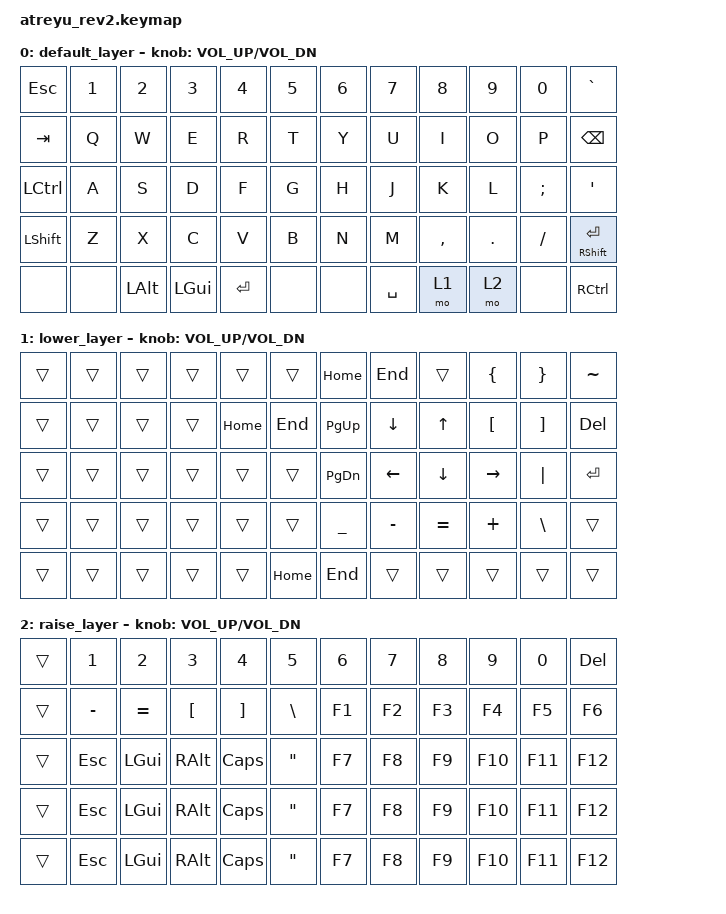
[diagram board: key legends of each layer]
/*
 * Copyright (c) 2020 The ZMK Contributors
 *
 * SPDX-License-Identifier: MIT
 */

#include <behaviors.dtsi>
#include <dt-bindings/zmk/keys.h>
#include <dt-bindings/zmk/bt.h>
#include <dt-bindings/zmk/rgb.h>

/ {
        keymap {
                compatible = "zmk,keymap";

                default_layer {
                        bindings = <
   &kp ESC   &kp N1  &kp N2   &kp N3   &kp N4  &kp N5    &kp N6 &kp N7    &kp N8    &kp N9  &kp N0   &kp GRAVE
   &kp TAB   &kp Q   &kp W    &kp E    &kp R   &kp T     &kp Y  &kp U     &kp I     &kp O   &kp P    &kp BSPC
   &kp LCTRL &kp A   &kp S    &kp D    &kp F   &kp G     &kp H  &kp J     &kp K     &kp L   &kp SEMI &kp SQT
   &kp LSHFT &kp Z   &kp X    &kp C    &kp V   &kp B     &kp N  &kp M     &kp COMMA &kp DOT &kp FSLH &mt RSHFT RET
   &none     &none   &kp LALT &kp LGUI &kp RET &none     &none  &kp SPACE &mo 1     &mo 2   &none    &kp RCTRL
                        >;
			sensor-bindings = <&inc_dec_kp C_VOL_UP C_VOL_DN>;
                };

                lower_layer {
                        bindings = <
   &trans &trans &trans &trans &trans   &trans        &kp HOME  &kp END   &trans    &kp LBRC   &kp RBRC  &kp TILDE
   &trans &trans &trans &trans &kp HOME &kp END       &kp PG_UP &kp DOWN  &kp UP    &kp LBKT   &kp RBKT  &kp DEL
   &trans &trans &trans &trans &trans   &trans        &kp PG_DN &kp LEFT  &kp DOWN  &kp RIGHT  &kp PIPE  &kp RET
   &trans &trans &trans &trans &trans   &trans        &kp UNDER &kp MINUS &kp EQUAL &kp PLUS   &kp BSLH  &trans
   &trans &trans &trans &trans &trans   &kp HOME      &kp END   &trans    &trans    &trans     &trans    &trans
                        >;
			sensor-bindings = <&inc_dec_kp C_VOL_UP C_VOL_DN>;
                };

                raise_layer {
// -----------------------------------------------------------------------------------------
// |    |  1  |  2  |  3  |  4  |  5  |   |  6  |  7  |  8  |  9  |  0  | DEL |
// |    |  -  |  =  |  [  |  ]  |  \  |   | F1  | F2  | F3  | F4  | F5  | F6  |
// |    | ESC | GUI | ALT | CAPS|  "  |   | F7  | F8  | F9  | F10 | F11 | F12 |
//                       |     | ADJ | BKSP |    |     |
                        bindings = <
   &trans &kp N1    &kp N2    &kp N3    &kp N4    &kp N5        &kp N6    &kp N7    &kp N8    &kp N9    &kp N0    &kp DEL
   &trans &kp MINUS &kp EQUAL &kp LBKT  &kp RBKT  &kp BSLH      &kp F1    &kp F2    &kp F3    &kp F4    &kp F5    &kp F6
   &trans &kp ESC   &kp LGUI  &kp RALT  &kp CLCK  &kp DQT       &kp F7    &kp F8    &kp F9    &kp F10   &kp F11   &kp F12
   &trans &kp ESC   &kp LGUI  &kp RALT  &kp CLCK  &kp DQT       &kp F7    &kp F8    &kp F9    &kp F10   &kp F11   &kp F12
   &trans &kp ESC   &kp LGUI  &kp RALT  &kp CLCK  &kp DQT       &kp F7    &kp F8    &kp F9    &kp F10   &kp F11   &kp F12
//                                &trans      &mo 3       &kp BSPC        &trans      &trans
                        >;
			sensor-bindings = <&inc_dec_kp C_VOL_UP C_VOL_DN>;
                };
//                adjust_layer {
// -----------------------------------------------------------------------------------------
// | RGB BRI+ | RGB SAT+ | RGB HUE+ | RGB ANI+ |    | RGB TOG |   |  BT1  | BT2 | BT3 | BT4 | BT5 | BT CLR |
// | RGB BRI- | RGB SAT- | RGB HUE- | RGB ANI- |    |         |   |       |     |     |     |     |        |
// |          |          |          |          |    |         |   | RESET |     |     |     |     |        |
//                                              |     |     |     |     |     |
//                        bindings = <
//   &rgb_ug RGB_BRI &rgb_ug RGB_SAI &rgb_ug RGB_HUI &rgb_ug RGB_EFF &none &rgb_ug RGB_TOG    &bt BT_SEL 0 &bt BT_SEL 1 &bt BT_SEL 2 &bt BT_SEL 3 &bt BT_SEL 4 &bt BT_CLR
//   &rgb_ug RGB_BRD &rgb_ug RGB_SAD &rgb_ug RGB_HUD &rgb_ug RGB_EFR &none &none              &none        &none        &none        &none        &none        &none
//   &none           &none           &none           &none           &none &none              &reset       &none        &none        &none        &none        &none
//                                                             &trans      &trans       &tog 3        &trans      &trans
//                        >;
//               };
        };
};
